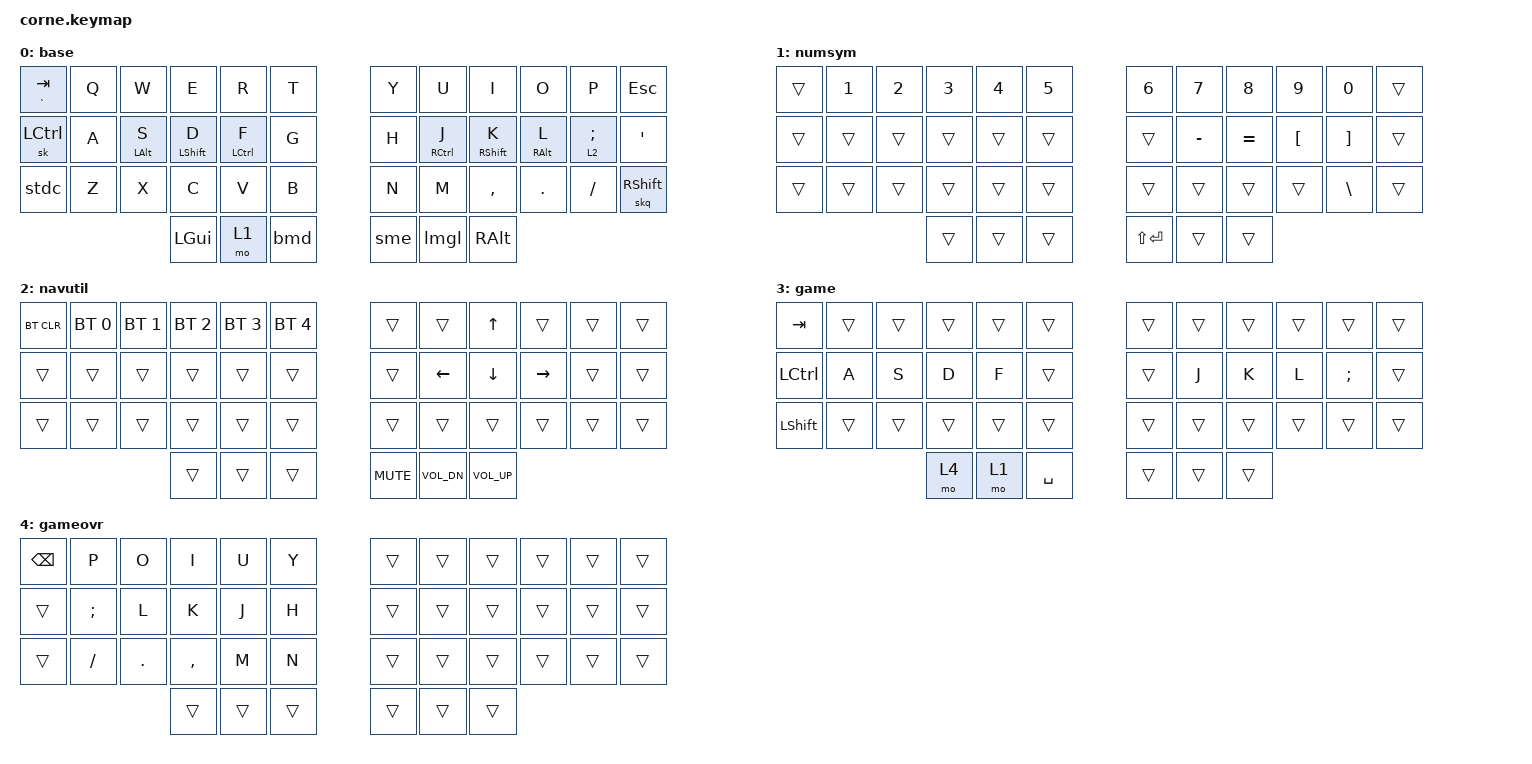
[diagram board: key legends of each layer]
/*
 * Copyright (c) 2020 The ZMK Contributors
 *
 * SPDX-License-Identifier: MIT
 */

#include <behaviors.dtsi>
#include <dt-bindings/zmk/bt.h>
#include <dt-bindings/zmk/keys.h>

&sk { /delete-property/ ignore-modifiers; };

/ {
    behaviors {
        hml: hml {
            compatible = "zmk,behavior-hold-tap";
            label = "homerow_mods_left";
            bindings = <&kp>, <&kp>;

            #binding-cells = <2>;
            tapping-term-ms = <200>;
            hold-trigger-key-positions = <39 40 41 18 30 6 7 19 31 32 20 8 9 21 33 34 22 10 11 23 35>;
        };

        hmr: hmr {
            compatible = "zmk,behavior-hold-tap";
            label = "homerow_mods_right";
            bindings = <&kp>, <&kp>;

            #binding-cells = <2>;
            tapping-term-ms = <200>;
            hold-trigger-key-positions = <0 1 2 3 4 5 12 13 14 15 16 17 24 25 26 27 28 29 36 37 38>;
        };

        hfak: hfak {
            compatible = "zmk,behavior-hold-tap";
            label = "hold_for_alt_kp";
            bindings = <&kp>, <&kp>;

            #binding-cells = <2>;
            tapping-term-ms = <200>;
        };

        lmgl: lmgl {
            compatible = "zmk,behavior-mod-morph";
            label = "layer_morph_game_layer";
            bindings = <&lm 1 LSHIFT>, <&stdgl>;

            #binding-cells = <0>;
            mods = <(MOD_LSFT)>;
        };

        bmd: bmd {
            compatible = "zmk,behavior-mod-morph";
            label = "bksp_morph_del";
            bindings = <&kp BACKSPACE>, <&kp DEL>;

            #binding-cells = <0>;
            mods = <(MOD_LSFT)>;
        };

        sme: sme {
            compatible = "zmk,behavior-mod-morph";
            label = "space_morph_enter";
            bindings = <&kp SPACE>, <&kp ENTER>;

            #binding-cells = <0>;
            mods = <(MOD_LSFT)>;
        };

        thml: thml {
            compatible = "zmk,behavior-hold-tap";
            label = "timeless_homerow_mods_left";
            bindings = <&kp>, <&kp>;

            #binding-cells = <2>;
            tapping-term-ms = <280>;
            hold-trigger-key-positions = <39 40 41 18 30 6 7 19 31 32 20 8 9 21 33 34 22 10 11 23 35>;
            flavor = "balanced";
            quick-tap-ms = <175>;
            require-prior-idle-ms = <150>;
            hold-trigger-on-release;
        };

        thmr: thmr {
            compatible = "zmk,behavior-hold-tap";
            label = "timeless_homerow_mods_right";
            bindings = <&kp>, <&kp>;

            #binding-cells = <2>;
            tapping-term-ms = <280>;
            flavor = "balanced";
            quick-tap-ms = <175>;
            require-prior-idle-ms = <150>;
            hold-trigger-on-release;
            hold-trigger-key-positions = <2 0 1 2 3 4 5 12 13 14 15 16 17 24 25 26 27 28 29 36 37 38>;
        };

        stdc: stdc {
            compatible = "zmk,behavior-tap-dance";
            label = "shift_tapdance_capslock";
            #binding-cells = <0>;
            bindings = <&skq LSHFT>, <&none>, <&kp CAPSLOCK>;
        };

        skq: skq {
            compatible = "zmk,behavior-sticky-key";
            label = "sticky_keys_quick_release";
            bindings = <&kp>;
            #binding-cells = <1>;
            release-after-ms = <1000>;
            quick-release;
        };

        stdgl: stdgl {
            compatible = "zmk,behavior-tap-dance";
            label = "shift_tapdance_game_layer";
            #binding-cells = <0>;
            bindings = <&none>, <&none>, <&tog 3>;
        };

        smse: smse {
            compatible = "zmk,behavior-mod-morph";
            label = "space_morph_shift_enter";
            bindings = <&kp SPACE>, <&kp ENTER>;

            #binding-cells = <0>;
            mods = <(MOD_LSFT|MOD_RSFT)>;
            keep-mods = <(MOD_LSFT)>;
        };
    };

    combos {
        compatible = "zmk,combos";

        COMBO_GAME_LALT {
            bindings = <&kp LALT>;
            key-positions = <24 37>;
            layers = <3>;
        };

        COMBO_GAME_LCTRL {
            bindings = <&kp LCTRL>;
            key-positions = <24 36>;
            layers = <3>;
        };

        COMBO_GAME_OVERLAY {
            bindings = <&mo 4>;
            key-positions = <36 37>;
            layers = <3>;
        };

        COMBO_RGUI {
            bindings = <&kp RGUI>;
            key-positions = <22 23>;
        };

        COMBO_LGUI {
            bindings = <&kp LGUI>;
            key-positions = <12 13>;
        };
    };

    macros {
        lm: lm {
            compatible = "zmk,behavior-macro-two-param";
            wait-ms = <0>;
            tap-ms = <0>;
            #binding-cells = <2>;
            bindings =
                <&macro_param_1to1>,
                <&macro_press>,
                <&mo MACRO_PLACEHOLDER &macro_param_2to1>,
                <&macro_press>,
                <&kp MACRO_PLACEHOLDER>,
                <&macro_pause_for_release>,
                <&macro_param_2to1>,
                <&macro_release>,
                <&kp MACRO_PLACEHOLDER &macro_param_1to1>,
                <&macro_release>,
                <&mo MACRO_PLACEHOLDER>;
        };
    };

    keymap {
        compatible = "zmk,keymap";

        default_layer {
            // -----------------------------------------------------------------------------------------
            // |  TAB |  Q  |  W  |  E  |  R  |  T  |   |  Y  |  U   |  I  |  O  |  P  | BKSP |
            // | CTRL |  A  |  S  |  D  |  F  |  G  |   |  H  |  J   |  K  |  L  |  ;  |  '   |
            // | SHFT |  Z  |  X  |  C  |  V  |  B  |   |  N  |  M   |  ,  |  .  |  /  | ESC  |
            //                    | GUI | LWR | SPC |   | ENT | RSE  | ALT |

            bindings = <
&hfak GRAVE TAB  &kp Q  &kp W         &kp E           &kp R          &kp T    &kp Y  &kp U          &kp I          &kp O         &kp P            &kp ESC
&sk LCTRL        &kp A  &thml LALT S  &thml LSHIFT D  &thml LCTRL F  &kp G    &kp H  &thmr RCTRL J  &thmr RSHFT K  &thmr RALT L  &lt 2 SEMICOLON  &kp SQT
&stdc            &kp Z  &kp X         &kp C           &kp V          &kp B    &kp N  &kp M          &kp COMMA      &kp DOT       &kp FSLH         &skq RSHFT
                                      &kp LGUI        &mo 1          &bmd     &sme   &lmgl          &kp RALT
            >;

            label = "base";
        };

        numbers_symbols {
            bindings = <
&trans  &kp N1  &kp N2  &kp N3  &kp N4  &kp N5    &kp N6         &kp N7     &kp N8     &kp N9    &kp N0         &trans
&trans  &trans  &trans  &trans  &trans  &trans    &trans         &kp MINUS  &kp EQUAL  &kp LBKT  &kp RBKT       &trans
&trans  &trans  &trans  &trans  &trans  &trans    &trans         &trans     &trans     &trans    &kp BACKSLASH  &trans
                        &trans  &trans  &trans    &kp LS(ENTER)  &trans     &trans
            >;

            label = "numsym";
        };

        nav_util {
            // -----------------------------------------------------------------------------------------
            // |  TAB |  1  |  2  |  3  |  4  |  5  |   |  6  |  7  |  8  |  9  |  0  | BKSP |
            // | BTCLR| BT1 | BT2 | BT3 | BT4 | BT5 |   | LFT | DWN |  UP | RGT |     |      |
            // | SHFT |     |     |     |     |     |   |     |     |     |     |     |      |
            //                    | GUI |     | SPC |   | ENT |     | ALT |

            bindings = <
&bt BT_CLR  &bt BT_SEL 0  &bt BT_SEL 1  &bt BT_SEL 2  &bt BT_SEL 3  &bt BT_SEL 4    &trans      &trans        &kp UP        &trans     &trans  &trans
&trans      &trans        &trans        &trans        &trans        &trans          &trans      &kp LEFT      &kp DOWN      &kp RIGHT  &trans  &trans
&trans      &trans        &trans        &trans        &trans        &trans          &trans      &trans        &trans        &trans     &trans  &trans
                                        &trans        &trans        &trans          &kp C_MUTE  &kp C_VOL_DN  &kp C_VOL_UP
            >;

            label = "navutil";
        };

        game_base {
            bindings = <
&kp TAB     &trans  &trans  &trans  &trans  &trans       &trans  &trans  &trans  &trans  &trans    &trans
&kp LCTRL   &kp A   &kp S   &kp D   &kp F   &trans       &trans  &kp J   &kp K   &kp L   &kp SEMI  &trans
&kp LSHIFT  &trans  &trans  &trans  &trans  &trans       &trans  &trans  &trans  &trans  &trans    &trans
                            &mo 4   &mo 1   &kp SPACE    &trans  &trans  &trans
            >;

            label = "game";
        };

        game_overlay {
            bindings = <
&kp BACKSPACE  &kp P     &kp O    &kp I      &kp U   &kp Y     &trans  &trans  &trans  &trans  &trans  &trans
&trans         &kp SEMI  &kp L    &kp K      &kp J   &kp H     &trans  &trans  &trans  &trans  &trans  &trans
&trans         &kp FSLH  &kp DOT  &kp COMMA  &kp M   &kp N     &trans  &trans  &trans  &trans  &trans  &trans
                                  &trans     &trans  &trans    &trans  &trans  &trans
            >;

            label = "gameovr";
        };
    };

    conditional_layers { compatible = "zmk,conditional-layers"; };
};
